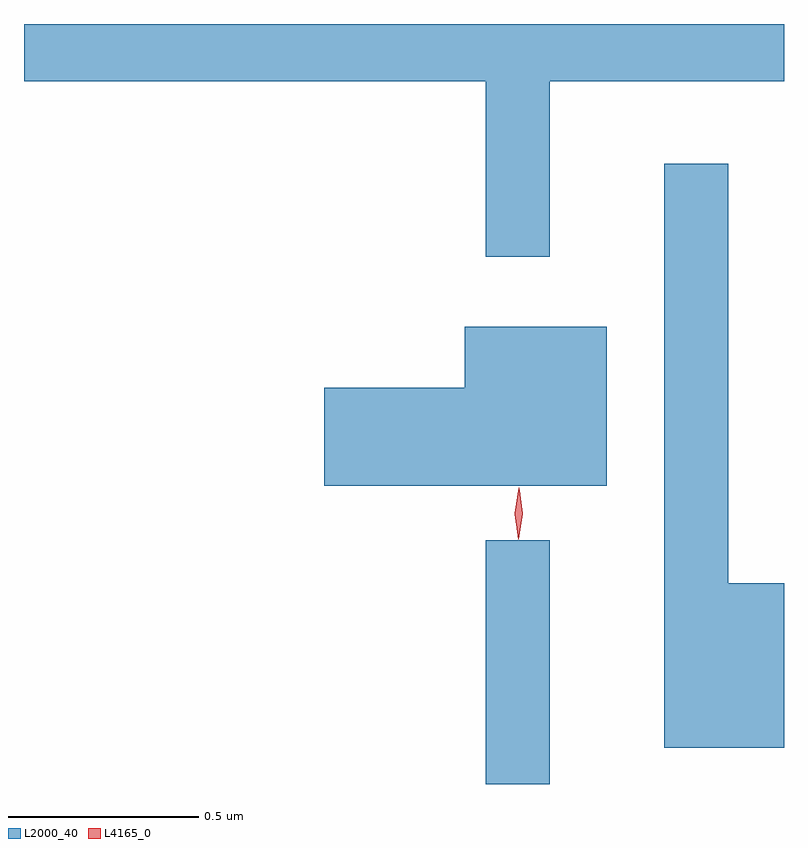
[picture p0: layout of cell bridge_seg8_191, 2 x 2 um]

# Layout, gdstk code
import gdstk
lib = gdstk.Library(unit=1e-6, precision=1e-09)
def R(c, l, rs):  # rectangles x0, y0, x1, y1
    for r in rs: c.add(gdstk.rectangle(r[:2], r[2:], *l))
def P(c, l, *ps):  # polygons
    for p in ps: c.add(gdstk.Polygon(p, *l))
L2000_40 = (2000, 40)
L4165_0 = (4165, 0)

bridge_seg8_191 = lib.new_cell('bridge_seg8_191')
R(bridge_seg8_191, L2000_40, [(1100.761,1905.606,1100.929,1906.248)])
P(bridge_seg8_191, L2000_40, [(1100.929,1907.456),(1101.546,1907.456),(1101.546,1907.606),(1099.546,1907.606),(1099.546,1907.456),(1100.761,1907.456),(1100.761,1906.993),(1100.929,1906.993)],
  [(1101.546,1906.134),(1101.399,1906.134),(1101.399,1907.238),(1101.231,1907.238),(1101.231,1905.701),(1101.546,1905.701)],
  [(1101.079,1906.809),(1100.706,1906.809),(1100.706,1906.649),(1100.336,1906.649),(1100.336,1906.391),(1101.079,1906.391)])
P(bridge_seg8_191, L4165_0, [(1100.846,1906.253),(1100.838,1906.316),(1100.848,1906.379),(1100.849,1906.38),(1100.85,1906.379),(1100.858,1906.316),(1100.848,1906.253),(1100.847,1906.253)],
  [(1100.846,1906.25),(1100.838,1906.318),(1100.848,1906.386),(1100.848,1906.386),(1100.849,1906.386),(1100.858,1906.318),(1100.848,1906.25),(1100.847,1906.25)])

lib.write_gds('bridge_seg8_191.gds')
